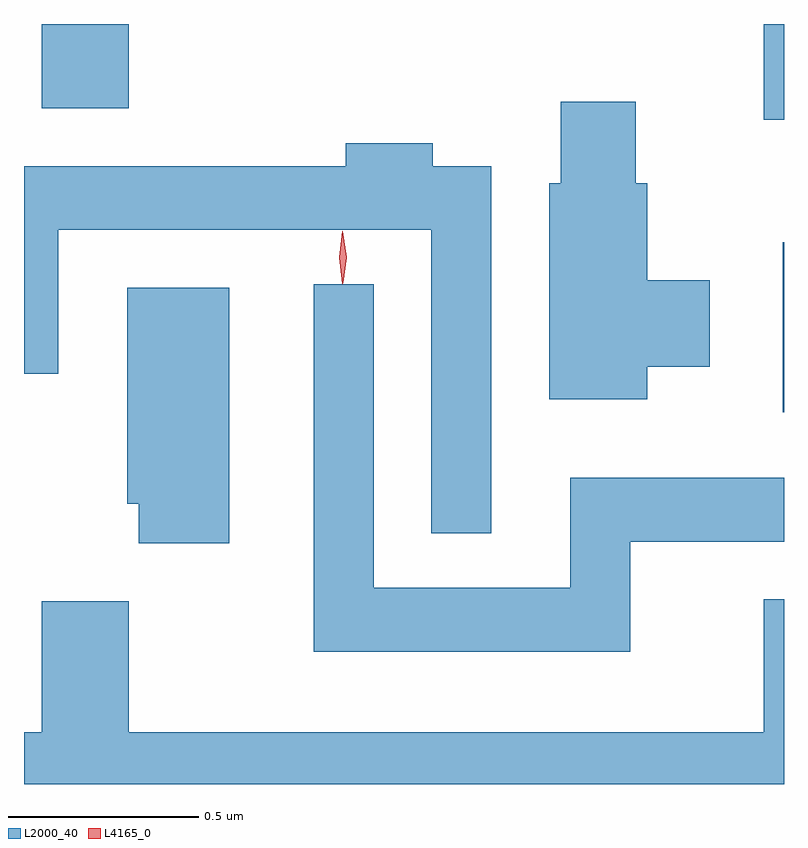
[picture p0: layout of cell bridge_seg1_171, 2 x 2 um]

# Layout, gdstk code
import gdstk
lib = gdstk.Library(unit=1e-6, precision=1e-09)
def R(c, l, rs):  # rectangles x0, y0, x1, y1
    for r in rs: c.add(gdstk.rectangle(r[:2], r[2:], *l))
def P(c, l, *ps):  # polygons
    for p in ps: c.add(gdstk.Polygon(p, *l))
L2000_40 = (2000, 40)
L4165_0 = (4165, 0)

bridge_seg1_171 = lib.new_cell('bridge_seg1_171')
R(bridge_seg1_171, L2000_40, [(783.831,947.306,783.834,947.754), (783.781,948.076,783.834,948.328), (781.881,948.106,782.109,948.328)])
P(bridge_seg1_171, L2000_40, [(783.474,947.426),(783.639,947.426),(783.639,947.654),(783.474,947.654),(783.474,947.909),(783.444,947.909),(783.444,948.124),(783.246,948.124),(783.246,947.909),(783.216,947.909),(783.216,947.341),(783.474,947.341)],
  [(783.064,947.954),(782.909,947.954),(782.909,948.014),(782.681,948.014),(782.681,947.954),(781.834,947.954),(781.834,947.408),(781.924,947.408),(781.924,947.786),(782.906,947.786),(782.906,946.988),(783.064,946.988)],
  [(783.429,946.966),(783.834,946.966),(783.834,947.134),(783.271,947.134),(783.271,946.844),(782.754,946.844),(782.754,947.643),(782.596,947.643),(782.596,946.676),(783.429,946.676)],
  [(782.374,947.634),(782.106,947.634),(782.106,947.066),(782.136,947.066),(782.136,946.961),(782.374,946.961)],
  [(783.834,946.814),(783.781,946.814),(783.781,946.464),(782.109,946.464),(782.109,946.809),(781.881,946.809),(781.881,946.464),(781.834,946.464),(781.834,946.328),(783.834,946.328)])
P(bridge_seg1_171, L4165_0, [(782.673,947.643),(782.672,947.644),(782.663,947.713),(782.672,947.782),(782.673,947.783),(782.673,947.782),(782.683,947.713),(782.673,947.644)],
  [(782.673,947.647),(782.673,947.647),(782.663,947.714),(782.672,947.78),(782.673,947.78),(782.673,947.78),(782.683,947.714),(782.674,947.647)])

lib.write_gds('bridge_seg1_171.gds')
